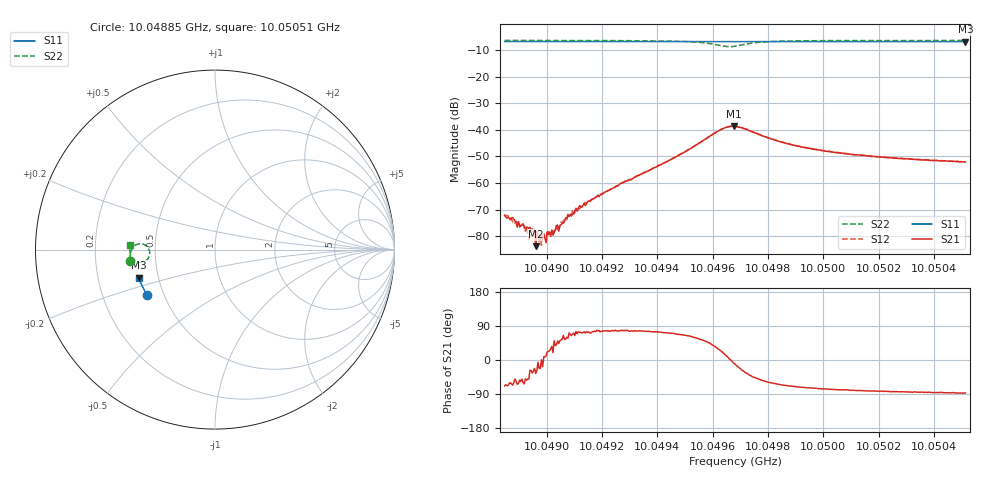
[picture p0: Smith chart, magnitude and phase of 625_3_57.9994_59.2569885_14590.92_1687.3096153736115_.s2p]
#  HZ  S  RI  R  50.00
! Rohde & Schwarz Vector Network Analyzer
! Rohde-Schwarz,ZNB20-2Port,1311601062101988,3.16
! Created: UTC 3/21/2024, 1:18:19 AM
! freq[Hz]  re:S11  im:S11  re:S21  im:S21  re:S12  im:S12  re:S22  im:S22
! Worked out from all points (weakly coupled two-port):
!   401 points, 10.04885 GHz to 10.05051 GHz, reference 50 ohm
!   highest |S21| = -38.62 dB at 10.04968 GHz (marker M1); lowest = -83.7 dB at 10.04896 GHz (marker M2)
!   lowest |S11| = -6.9 dB at 10.05051 GHz (marker M3), VSWR 2.65, Z = 19.4 - j7.58 ohm
!   |S11| at or under -10 dB: nowhere
!   |S22| runs from -8.8 to -6.4 dB; largest |S21 - S12| = 0.00099
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1.0048848e10  -0.3778 -0.2539  8.89e-05 -0.000229  0.000107 -0.000235  -0.4724 -0.0609
1.0048877e10  -0.3789 -0.2523  9.1e-05 -0.000207  6.45e-05 -0.000176  -0.4725 -0.0587
1.0048898e10  -0.3795 -0.2512  8.82e-05 -0.000168  0.000116 -0.000145  -0.4727 -0.0568
1.0048919e10  -0.3805 -0.25  6.75e-05 -0.000132  0.000109 -0.000116  -0.4728 -0.0554
1.0048931e10  -0.3808 -0.2492  9.58e-05 -0.000114  8.71e-05 -7.78e-05  -0.4726 -0.0543
1.0048948e10  -0.3813 -0.2482  0.000115 -7.82e-05  0.000127 -3.11e-05  -0.4728 -0.053
1.0048961e10  -0.3818 -0.2476  5.32e-05 -3.83e-05  9.55e-05 -6.07e-05  -0.4728 -0.0519
1.0048986e10  -0.3828 -0.2462  9.63e-05 -3.08e-05  0.00011 1.65e-05  -0.4731 -0.0498
1.0049019e10  -0.3836 -0.2442  0.000104 7.6e-05  0.000105 7.78e-05  -0.4729 -0.0469
1.0049052e10  -0.385 -0.2423  0.000101 0.000133  0.00011 0.00015  -0.4731 -0.044
1.0049077e10  -0.3858 -0.2409  0.00014 0.000217  8.64e-05 0.000225  -0.4731 -0.0419
1.0049127e10  -0.3873 -0.2382  0.000114 0.000333  7.46e-05 0.000374  -0.4728 -0.0373
1.0049244e10  -0.3912 -0.2315  0.000191 0.000794  0.000147 0.000824  -0.472 -0.0254
1.0049406e10  -0.3963 -0.2218  0.000608 0.00208  0.000489 0.00211  -0.4667 -0.00331
1.0049544e10  -0.4 -0.2137  0.00285 0.00445  0.00257 0.00465  -0.4416 0.0257
1.0049627e10  -0.402 -0.2086  0.00897 0.00433  0.0086 0.00492  -0.3832 0.0211
1.0049677e10  -0.4029 -0.2061  0.0116 -0.00172  0.0116 -0.000781  -0.3664 -0.0359
1.0049681e10  -0.4031 -0.206  0.0115 -0.00217  0.0115 -0.00137  -0.3685 -0.0411
1.0049781e10  -0.4065 -0.2005  0.00449 -0.00623  0.00493 -0.00598  -0.441 -0.0651
1.004996e10  -0.4118 -0.1899  0.00122 -0.0042  0.00147 -0.00418  -0.4701 -0.0291
1.0050239e10  -0.4187 -0.1727  0.000362 -0.00298  0.000541 -0.00296  -0.4751 0.00242
1.0050514e10  -0.4247 -0.1557  0.000135 -0.0025  0.000247 -0.00249  -0.475 0.0253
